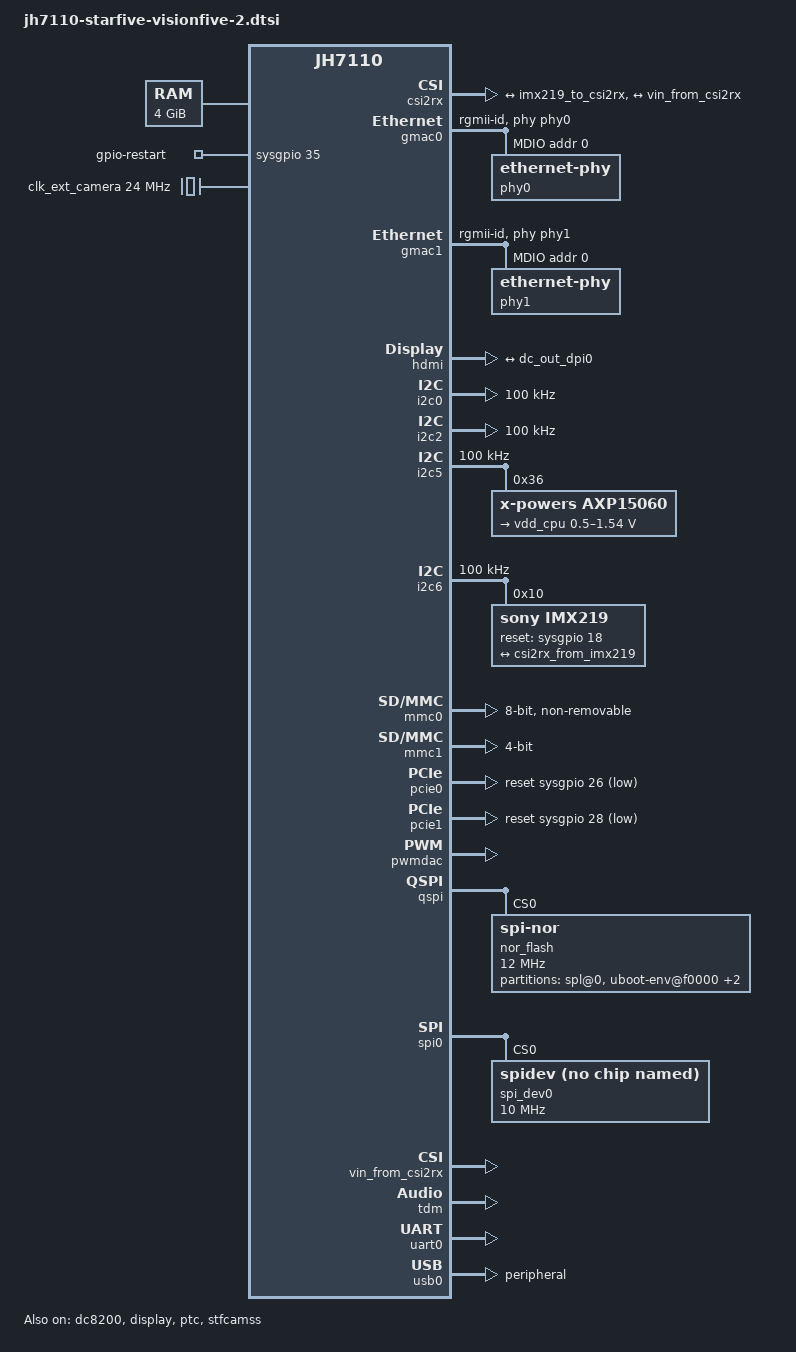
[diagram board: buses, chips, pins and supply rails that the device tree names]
// SPDX-License-Identifier: GPL-2.0 OR MIT
/*
 * Copyright (C) 2022 StarFive Technology Co., Ltd.
 * Copyright (C) 2022 Emil Renner Berthing <kernel@esmil.dk>
 */

/dts-v1/;
#include "jh7110.dtsi"
#include "jh7110-pinfunc.h"
#include <dt-bindings/gpio/gpio.h>

/ {
	aliases {
		ethernet0 = &gmac0;
		ethernet1 = &gmac1;
		i2c0 = &i2c0;
		i2c2 = &i2c2;
		i2c5 = &i2c5;
		i2c6 = &i2c6;
		serial0 = &uart0;
	};

	chosen {
		stdout-path = "serial0:115200n8";
	};

	cpus {
		timebase-frequency = <4000000>;
	};

	memory@40000000 {
		device_type = "memory";
		reg = <0x0 0x40000000 0x1 0x0>;
	};

	reserved-memory {
		#address-cells = <2>;
		#size-cells = <2>;
		ranges;

		linux,cma {
			compatible = "shared-dma-pool";
			reusable;
			size = <0x0 0x20000000>;
			alignment = <0x0 0x1000>;
			alloc-ranges = <0x0 0x80000000 0x0 0x20000000>;
			linux,cma-default;
		};
	};

	gpio-restart {
		compatible = "gpio-restart";
		gpios = <&sysgpio 35 GPIO_ACTIVE_HIGH>;
		priority = <224>;
	};

	pwmdac_dit: pwmdac-dit {
		compatible = "starfive,jh7110-pwmdac-dit";
		#sound-dai-cells = <0>;
	};

	sound {
		compatible = "simple-audio-card";
		simple-audio-card,name = "StarFive-PWMDAC-Sound-Card";
		#address-cells = <1>;
		#size-cells = <0>;

		simple-audio-card,dai-link@0 {
			reg = <0>;
			format = "left_j";
			bitclock-master = <&sndcpu0>;
			frame-master = <&sndcpu0>;
			status = "okay";

			sndcpu0: cpu {
				sound-dai = <&pwmdac>;
			};

			codec {
				sound-dai = <&pwmdac_dit>;
			};
		};
	};

	clk_ext_camera: clk_ext_camera {
		compatible = "fixed-clock";
		#clock-cells = <0>;
		clock-frequency = <24000000>;
	};
};

&dvp_clk {
	clock-frequency = <74250000>;
};

&gmac0_rgmii_rxin {
	clock-frequency = <125000000>;
};

&gmac0_rmii_refin {
	clock-frequency = <50000000>;
};

&gmac1_rgmii_rxin {
	clock-frequency = <125000000>;
};

&gmac1_rmii_refin {
	clock-frequency = <50000000>;
};

&hdmitx0_pixelclk {
	clock-frequency = <297000000>;
};

&i2srx_bclk_ext {
	clock-frequency = <12288000>;
};

&i2srx_lrck_ext {
	clock-frequency = <192000>;
};

&i2stx_bclk_ext {
	clock-frequency = <12288000>;
};

&i2stx_lrck_ext {
	clock-frequency = <192000>;
};

&mclk_ext {
	clock-frequency = <12288000>;
};

&osc {
	clock-frequency = <24000000>;
};

&rtc_osc {
	clock-frequency = <32768>;
};

&tdm_ext {
	clock-frequency = <49152000>;
};

&csi2rx {
	status = "okay";

	assigned-clocks = <&ispcrg JH7110_ISPCLK_VIN_SYS>;
	assigned-clock-rates = <297000000>;

	ports {
		#address-cells = <1>;
		#size-cells = <0>;

		port@0 {
			reg = <0>;

			csi2rx_from_imx219: endpoint {
				remote-endpoint = <&imx219_to_csi2rx>;
				bus-type = <4>;
				clock-lanes = <0>;
				data-lanes = <1 2>;
				status = "okay";
			};
		};

		port@1 {
			reg = <1>;

			csi2rx_to_vin: endpoint {
				remote-endpoint = <&vin_from_csi2rx>;
				status = "okay";
			};
		};
	};
};

&dc8200 {
	status = "okay";

	dc_out: port {
		#address-cells = <1>;
		#size-cells = <0>;
		dc_out_dpi0: endpoint@0 {
			reg = <0>;
			remote-endpoint = <&hdmi_input>;
		};

	};
};

&display {
	status = "okay";
};

&gmac0 {
	phy-handle = <&phy0>;
	phy-mode = "rgmii-id";
	status = "okay";

	mdio {
		#address-cells = <1>;
		#size-cells = <0>;
		compatible = "snps,dwmac-mdio";

		phy0: ethernet-phy@0 {
			reg = <0>;
		};
	};
};

&gmac1 {
	phy-handle = <&phy1>;
	phy-mode = "rgmii-id";
	status = "okay";

	mdio {
		#address-cells = <1>;
		#size-cells = <0>;
		compatible = "snps,dwmac-mdio";

		phy1: ethernet-phy@1 {
			reg = <0>;
		};
	};
};

&hdmi {
	status = "okay";
	pinctrl-names = "default";
	pinctrl-0 = <&hdmi_pins>;

	hdmi_in: port {
		#address-cells = <1>;
		#size-cells = <0>;
		hdmi_input: endpoint@0 {
			reg = <0>;
			remote-endpoint = <&dc_out_dpi0>;
		};
	};
};

&i2c0 {
	clock-frequency = <100000>;
	i2c-sda-hold-time-ns = <300>;
	i2c-sda-falling-time-ns = <510>;
	i2c-scl-falling-time-ns = <510>;
	pinctrl-names = "default";
	pinctrl-0 = <&i2c0_pins>;
	status = "okay";
};

&i2c2 {
	clock-frequency = <100000>;
	i2c-sda-hold-time-ns = <300>;
	i2c-sda-falling-time-ns = <510>;
	i2c-scl-falling-time-ns = <510>;
	pinctrl-names = "default";
	pinctrl-0 = <&i2c2_pins>;
	status = "okay";
};

&i2c5 {
	clock-frequency = <100000>;
	i2c-sda-hold-time-ns = <300>;
	i2c-sda-falling-time-ns = <510>;
	i2c-scl-falling-time-ns = <510>;
	pinctrl-names = "default";
	pinctrl-0 = <&i2c5_pins>;
	status = "okay";

	axp15060: pmic@36 {
		compatible = "x-powers,axp15060";
		reg = <0x36>;
		interrupts = <0>;
		interrupt-controller;
		#interrupt-cells = <1>;

		regulators {
			vdd_cpu: dcdc2 {
				regulator-always-on;
				regulator-min-microvolt = <500000>;
				regulator-max-microvolt = <1540000>;
				regulator-name = "vdd-cpu";
			};
		};
	};
};

&i2c6 {
	clock-frequency = <100000>;
	i2c-sda-hold-time-ns = <300>;
	i2c-sda-falling-time-ns = <510>;
	i2c-scl-falling-time-ns = <510>;
	pinctrl-names = "default";
	pinctrl-0 = <&i2c6_pins>;
	status = "okay";

	imx219: imx219@10 {
		compatible = "sony,imx219";
		reg = <0x10>;
		clocks = <&clk_ext_camera>;
		reset-gpio = <&sysgpio 18 0>;
		rotation = <0>;
		orientation = <1>;

		port {
			imx219_to_csi2rx: endpoint {
				remote-endpoint = <&csi2rx_from_imx219>;
				bus-type = <4>;
				clock-lanes = <0>;
				data-lanes = <1 2>;
				link-frequencies = /bits/ 64 <456000000>;
			};
		};
	};
};

&mmc0 {
	max-frequency = <100000000>;
	bus-width = <8>;
	cap-mmc-highspeed;
	mmc-ddr-1_8v;
	mmc-hs200-1_8v;
	non-removable;
	cap-mmc-hw-reset;
	post-power-on-delay-ms = <200>;
	status = "okay";
};

&mmc1 {
	max-frequency = <100000000>;
	bus-width = <4>;
	no-sdio;
	no-mmc;
	broken-cd;
	cap-sd-highspeed;
	post-power-on-delay-ms = <200>;
	status = "okay";
};

&pcie0 {
	pinctrl-names = "default";
	reset-gpios = <&sysgpio 26 GPIO_ACTIVE_LOW>;
	pinctrl-0 = <&pcie0_pins>;
	status = "okay";
};

&pcie1 {
	pinctrl-names = "default";
	reset-gpios = <&sysgpio 28 GPIO_ACTIVE_LOW>;
	pinctrl-0 = <&pcie1_pins>;
	status = "okay";
};

&ptc {
	pinctrl-names = "default";
	pinctrl-0 = <&pwm_pins>;
	status = "okay";
};

&pwmdac {
	pinctrl-names = "default";
	pinctrl-0 = <&pwmdac_pins>;
	status = "okay";
};

&qspi {
	#address-cells = <1>;
	#size-cells = <0>;
	status = "okay";

	nor_flash: flash@0 {
		compatible = "jedec,spi-nor";
		reg = <0>;
		cdns,read-delay = <5>;
		spi-max-frequency = <12000000>;
		cdns,tshsl-ns = <1>;
		cdns,tsd2d-ns = <1>;
		cdns,tchsh-ns = <1>;
		cdns,tslch-ns = <1>;

		partitions {
			compatible = "fixed-partitions";
			#address-cells = <1>;
			#size-cells = <1>;

			spl@0 {
				reg = <0x0 0x80000>;
			};
			uboot-env@f0000 {
				reg = <0xf0000 0x10000>;
			};
			uboot@100000 {
				reg = <0x100000 0x400000>;
			};
			reserved-data@600000 {
				reg = <0x600000 0x1000000>;
			};
		};
	};
};

&spi0 {
	pinctrl-names = "default";
	pinctrl-0 = <&spi0_pins>;
	status = "okay";

	spi_dev0: spi_dev@0 {
		compatible = "rohm,dh2228fv";
		reg = <0>;
		spi-max-frequency = <10000000>;
	};
};

&stfcamss {
	status = "okay";

	assigned-clocks = <&ispcrg JH7110_ISPCLK_DOM4_APB_FUNC>;
	assigned-clock-rates = <49500000>;

	assigned-clocks = <&ispcrg JH7110_ISPCLK_MIPI_RX0_PXL>;
	assigned-clock-rates = <198000000>;

	ports {
		#address-cells = <1>;
		#size-cells = <0>;

		port@1 {
			reg = <1>;
			#address-cells = <1>;
			#size-cells = <0>;

			vin_from_csi2rx: endpoint@1 {
				reg = <1>;
				remote-endpoint = <&csi2rx_to_vin>;
				status = "okay";
			};
		};
	};
};

&sysgpio {
	hdmi_pins: hdmi-0 {
		hdmi-scl-pins {
			pinmux = <GPIOMUX(0, GPOUT_SYS_HDMI_DDC_SCL,
					     GPOEN_SYS_HDMI_DDC_SCL,
					     GPI_SYS_HDMI_DDC_SCL)>;
			input-enable;
			bias-pull-up;
		};

		hdmi-sda-pins {
			pinmux = <GPIOMUX(1, GPOUT_SYS_HDMI_DDC_SDA,
					     GPOEN_SYS_HDMI_DDC_SDA,
					     GPI_SYS_HDMI_DDC_SDA)>;
			input-enable;
			bias-pull-up;
		};

		hdmi-cec-pins {
			pinmux = <GPIOMUX(14, GPOUT_SYS_HDMI_CEC_SDA,
					     GPOEN_SYS_HDMI_CEC_SDA,
					     GPI_SYS_HDMI_CEC_SDA)>;
			input-enable;
			bias-pull-up;
		};

		hdmi-hpd-pins {
			pinmux = <GPIOMUX(15, GPOUT_HIGH,
					     GPOEN_ENABLE,
					     GPI_SYS_HDMI_HPD)>;
			input-enable;
			bias-disable; /* external pull-up */
		};
	};

	i2c0_pins: i2c0-0 {
		i2c-pins {
			pinmux = <GPIOMUX(57, GPOUT_LOW,
					      GPOEN_SYS_I2C0_CLK,
					      GPI_SYS_I2C0_CLK)>,
				 <GPIOMUX(58, GPOUT_LOW,
					      GPOEN_SYS_I2C0_DATA,
					      GPI_SYS_I2C0_DATA)>;
			bias-disable; /* external pull-up */
			input-enable;
			input-schmitt-enable;
		};
	};

	i2c2_pins: i2c2-0 {
		i2c-pins {
			pinmux = <GPIOMUX(3, GPOUT_LOW,
					     GPOEN_SYS_I2C2_CLK,
					     GPI_SYS_I2C2_CLK)>,
				 <GPIOMUX(2, GPOUT_LOW,
					     GPOEN_SYS_I2C2_DATA,
					     GPI_SYS_I2C2_DATA)>;
			bias-disable; /* external pull-up */
			input-enable;
			input-schmitt-enable;
		};
	};

	i2c5_pins: i2c5-0 {
		i2c-pins {
			pinmux = <GPIOMUX(19, GPOUT_LOW,
					      GPOEN_SYS_I2C5_CLK,
					      GPI_SYS_I2C5_CLK)>,
				 <GPIOMUX(20, GPOUT_LOW,
					      GPOEN_SYS_I2C5_DATA,
					      GPI_SYS_I2C5_DATA)>;
			bias-disable; /* external pull-up */
			input-enable;
			input-schmitt-enable;
		};
	};

	i2c6_pins: i2c6-0 {
		i2c-pins {
			pinmux = <GPIOMUX(16, GPOUT_LOW,
					      GPOEN_SYS_I2C6_CLK,
					      GPI_SYS_I2C6_CLK)>,
				 <GPIOMUX(17, GPOUT_LOW,
					      GPOEN_SYS_I2C6_DATA,
					      GPI_SYS_I2C6_DATA)>;
			bias-disable; /* external pull-up */
			input-enable;
			input-schmitt-enable;
		};
	};

	pcie0_pins: pcie0-0 {
		wake-pins {
			pinmux = <GPIOMUX(32, GPOUT_LOW,
					      GPOEN_DISABLE,
					      GPI_NONE)>;
			bias-pull-up;
			drive-strength = <2>;
			input-enable;
			input-schmitt-disable;
			slew-rate = <0>;
		};

		clkreq-pins {
			pinmux = <GPIOMUX(27, GPOUT_LOW,
					      GPOEN_DISABLE,
					      GPI_NONE)>;
			bias-pull-down;
			drive-strength = <2>;
			input-enable;
			input-schmitt-disable;
			slew-rate = <0>;
		};
	};

	pcie1_pins: pcie1-0 {
		wake-pins {
			pinmux = <GPIOMUX(21, GPOUT_LOW,
					      GPOEN_DISABLE,
					      GPI_NONE)>;
			bias-pull-up;
			drive-strength = <2>;
			input-enable;
			input-schmitt-disable;
			slew-rate = <0>;
		};

		clkreq-pins {
			pinmux = <GPIOMUX(29, GPOUT_LOW,
					      GPOEN_DISABLE,
					      GPI_NONE)>;
			bias-pull-down;
			drive-strength = <2>;
			input-enable;
			input-schmitt-disable;
			slew-rate = <0>;
		};
	};

	pwm_pins: pwm-0 {
		pwm-pins {
			pinmux = <GPIOMUX(46, GPOUT_SYS_PWM_CHANNEL0,
					      GPOEN_SYS_PWM0_CHANNEL0,
					      GPI_NONE)>,
				 <GPIOMUX(59, GPOUT_SYS_PWM_CHANNEL1,
					      GPOEN_SYS_PWM0_CHANNEL1,
					      GPI_NONE)>;
			bias-disable;
			drive-strength = <12>;
			input-disable;
			input-schmitt-disable;
			slew-rate = <0>;
		};
	};

	pwmdac_pins: pwmdac-0 {
		pwmdac-pins {
			pinmux = <GPIOMUX(33, GPOUT_SYS_PWMDAC_LEFT,
					      GPOEN_ENABLE,
					      GPI_NONE)>,
				 <GPIOMUX(34, GPOUT_SYS_PWMDAC_RIGHT,
					      GPOEN_ENABLE,
					      GPI_NONE)>;
			bias-disable;
			drive-strength = <2>;
			input-disable;
			input-schmitt-disable;
			slew-rate = <0>;
		};
	};

	spi0_pins: spi0-0 {
		mosi-pins {
			pinmux = <GPIOMUX(52, GPOUT_SYS_SPI0_TXD,
					      GPOEN_ENABLE,
					      GPI_NONE)>;
			bias-disable;
			input-disable;
			input-schmitt-disable;
		};

		miso-pins {
			pinmux = <GPIOMUX(53, GPOUT_LOW,
					      GPOEN_DISABLE,
					      GPI_SYS_SPI0_RXD)>;
			bias-pull-up;
			input-enable;
			input-schmitt-enable;
		};

		sck-pins {
			pinmux = <GPIOMUX(48, GPOUT_SYS_SPI0_CLK,
					      GPOEN_ENABLE,
					      GPI_SYS_SPI0_CLK)>;
			bias-disable;
			input-disable;
			input-schmitt-disable;
		};

		ss-pins {
			pinmux = <GPIOMUX(48, GPOUT_SYS_SPI0_FSS,
					      GPOEN_ENABLE,
					      GPI_SYS_SPI0_FSS)>;
			bias-disable;
			input-disable;
			input-schmitt-disable;
		};
	};

	tdm0_pins: tdm0-pins {
		tdm0-pins-tx {
			pinmux = <GPIOMUX(44, GPOUT_SYS_TDM_TXD,
					      GPOEN_ENABLE,
					      GPI_NONE)>;
			bias-pull-up;
			drive-strength = <2>;
			input-disable;
			input-schmitt-disable;
			slew-rate = <0>;
		};

		tdm0-pins-rx {
			pinmux = <GPIOMUX(61, GPOUT_HIGH,
					      GPOEN_DISABLE,
					      GPI_SYS_TDM_RXD)>;
			input-enable;
		};

		tdm0-pins-sync {
			pinmux = <GPIOMUX(63, GPOUT_HIGH,
					      GPOEN_DISABLE,
					      GPI_SYS_TDM_SYNC)>;
			input-enable;
		};

		tdm0-pins-pcmclk {
			pinmux = <GPIOMUX(38, GPOUT_HIGH,
					      GPOEN_DISABLE,
					      GPI_SYS_TDM_CLK)>;
			input-enable;
		};
	};

	uart0_pins: uart0-0 {
		tx-pins {
			pinmux = <GPIOMUX(5, GPOUT_SYS_UART0_TX,
					     GPOEN_ENABLE,
					     GPI_NONE)>;
			bias-disable;
			drive-strength = <12>;
			input-disable;
			input-schmitt-disable;
			slew-rate = <0>;
		};

		rx-pins {
			pinmux = <GPIOMUX(6, GPOUT_LOW,
					     GPOEN_DISABLE,
					     GPI_SYS_UART0_RX)>;
			bias-disable; /* external pull-up */
			drive-strength = <2>;
			input-enable;
			input-schmitt-enable;
			slew-rate = <0>;
		};
	};
};

&tdm {
	pinctrl-names = "default";
	pinctrl-0 = <&tdm0_pins>;
	status = "okay";
};

&uart0 {
	pinctrl-names = "default";
	pinctrl-0 = <&uart0_pins>;
	status = "okay";
};

&usb0 {
	dr_mode = "peripheral";
	status = "okay";
};

&U74_1 {
	cpu-supply = <&vdd_cpu>;
};

&U74_2 {
	cpu-supply = <&vdd_cpu>;
};

&U74_3 {
	cpu-supply = <&vdd_cpu>;
};

&U74_4 {
	cpu-supply = <&vdd_cpu>;
};
